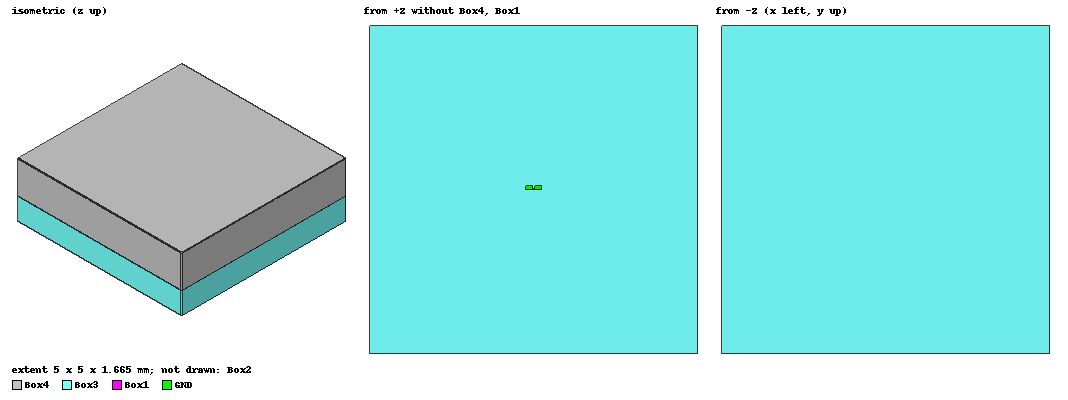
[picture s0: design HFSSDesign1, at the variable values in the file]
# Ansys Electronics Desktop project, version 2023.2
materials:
  vacuum: permittivity=1
  air: permittivity=1.0006 permeability=1.0000004
  silicon_dioxide: permittivity=4
  silicon: permittivity=11.9
  Arlon CLTE-XT (tm): permittivity=2.94 dielectric_loss_tangent=0.0012

design HFSSDesign1 (HFSS, HFSS Terminal Network, model units mm)
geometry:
  GND = rectangle(corner=((-0.2324/2) mm, 0mm, 0mm), x_size=0.2324mm, y_size=0.061mm)
  Rectangle1 = rectangle(corner=((-0.0324/2) mm, 0.01mm, 0mm), x_size=0.0324mm, y_size=0.051mm)
  GND.subtract(Rectangle1)
  main_antenna = rectangle(corner=(-0.0025mm, 0.01mm, 0mm), x_size=0.005mm, y_size=0.676mm)
  GND.unite(main_antenna)
  port = rectangle(corner=(-0.0025mm, 0.015mm, 0mm), x_size=0.005mm, y_size=-0.005mm)
  Box1 [silicon_dioxide] = box(corner=((-5/2) mm, (-5/2) mm, (-.002/2) mm), size=(5mm, 5mm, 0.002mm))
  Box2 [air] = box(corner=((6/2) mm, (6/2) mm, (6/2) mm), size=(-6mm, -6mm, -6mm))
  Box3 [silicon] = box(corner=(-2.5mm, -2.5mm, -0.001mm), size=(5mm, 5mm, -0.663mm))
  Box4 [Arlon CLTE-XT (tm)] = box(corner=(-2.5mm, -2.5mm, 1.001mm), size=(5mm, 5mm, -1.665mm))
  coordinate_system RelativeCS1 = origin=(0mm, 0mm, 100mm) x=(1mm, 0mm, 0mm) y=(0mm, 1mm, 0mm)
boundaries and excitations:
  PerfE1: Perfect E Objects=GND
  Rad1: Radiation Objects=Box2
  1: Lumped Port Objects=port LumpedPortType=Modal Modes{Mode1{IntLine{(0, 0.015, 0) -> (0, 0.01, 0)} CharImp=Zpi RenormImp=50ohm}} Impedance=50ohm
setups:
  Setup1: HfssDriven Frequency=60GHz MaxDeltaS=0.02 MaximumPasses=6 MinimumPasses=1 MinimumConvergedPasses=1 PercentRefinement=30 BasisOrder=1 PortAccuracy=2 DrivenSolverType="Direct Solver"
    sweep Sweep: 30GHz to 90GHz, 401 points; Type=Discrete SaveFields SaveRadFields
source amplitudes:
  1:1: 1V 0deg
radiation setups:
  Infinite Sphere1: Infinite Sphere Theta=0deg..180deg step 10deg Phi=0deg..360deg step 10deg
  Rectangle1: Near Rectangle  Length=100dm Width=100dm LengthSamples=100 WidthSamples=100 CoordSystem=Global
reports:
  Gain Plot 1: dB(GainTotal) vs Freq on Setup1 : Sweep, Infinite Sphere1 [Phi=0deg Theta=0deg]; markers m1 at 60GHz
  S Parameter Plot 1: dB(S(1,1)) vs Freq on Setup1 : Sweep; markers m1 at 60.9GHz
  3D-Plot of Gain: dB(GainTotal) vs Phi, Theta on Setup1 : LastAdaptive, Infinite Sphere1 [Freq=60GHz]
  Radiation Pattern at thetha = '0': dB(GainTotal) vs Phi on Setup1 : LastAdaptive, Infinite Sphere1 [Theta=0deg Freq=60GHz]; markers m1 at 90deg, m2 at 360deg, m3 at 270deg, m4 at 180deg
  Radiation Plot at thetha = '90': dB(GainTotal) vs Phi on Setup1 : LastAdaptive, Infinite Sphere1 [Theta=90deg Freq=60GHz]; markers m1 at 90deg, m2 at 40deg, m3 at 140deg, m4 at 220deg, m5 at 320deg
  Gain Plot 5: dB(GainTotal) vs Phi on Setup1 : LastAdaptive, Infinite Sphere1
  Power Plot: dB(NearPoyntingTotal)*0.000025 vs _u, _v on Setup1 : LastAdaptive [Freq=60GHz]
